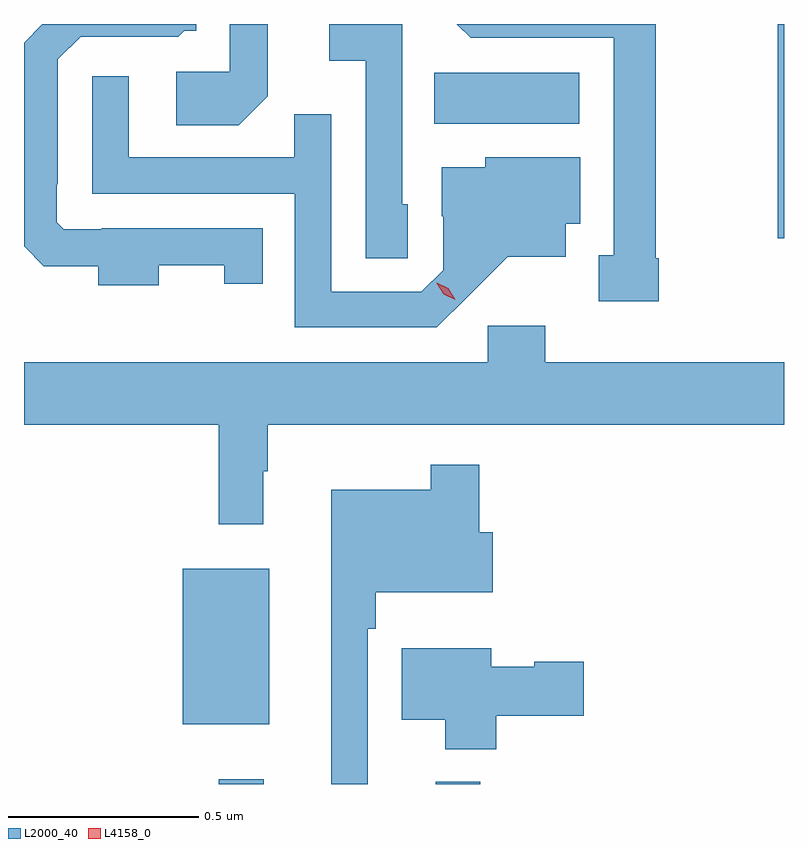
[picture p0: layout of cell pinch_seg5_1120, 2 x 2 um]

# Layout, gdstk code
import gdstk
lib = gdstk.Library(unit=1e-6, precision=1e-09)
def R(c, l, rs):  # rectangles x0, y0, x1, y1
    for r in rs: c.add(gdstk.rectangle(r[:2], r[2:], *l))
def P(c, l, *ps):  # polygons
    for p in ps: c.add(gdstk.Polygon(p, *l))
L2000_40 = (2000, 40)
L4158_0 = (4158, 0)

pinch_seg5_1120 = lib.new_cell('pinch_seg5_1120')
R(pinch_seg5_1120, L2000_40, [(803.911,870.466,804.029,870.478), (804.482,870.466,804.599,870.472), (803.816,870.623,804.043,871.033), (805.381,871.902,805.398,872.466), (804.478,872.204,804.859,872.338)])
P(pinch_seg5_1120, L2000_40, [(804.408,871.992),(804.393,871.992),(804.393,872.466),(804.201,872.466),(804.201,872.369),(804.297,872.369),(804.297,871.849),(804.408,871.849)],
  [(803.752,871.831),(803.925,871.831),(803.925,871.782),(804.026,871.782),(804.026,871.929),(803.602,871.929),(803.602,871.926),(803.502,871.926),(803.484,871.944),(803.484,872.044),(803.487,872.044),(803.487,872.373),(803.547,872.433),(803.67,872.433),(803.67,872.432),(803.804,872.432),(803.82,872.448),(803.851,872.448),(803.851,872.466),(803.446,872.466),(803.398,872.417),(803.398,871.881),(803.45,871.829),(803.594,871.829),(803.594,871.778),(803.752,871.778)],
  [(804.039,872.276),(804.039,872.466),(803.94,872.466),(803.94,872.34),(803.799,872.34),(803.799,872.2),(803.963,872.2)],
  [(805.069,871.849),(805.061,871.849),(805.061,872.466),(804.537,872.466),(804.573,872.43),(804.95,872.43),(804.95,871.857),(804.911,871.857),(804.911,871.737),(805.069,871.737)],
  [(804.568,871.751),(804.671,871.853),(804.823,871.853),(804.823,871.94),(804.862,871.94),(804.862,872.116),(804.612,872.116),(804.612,872.089),(804.497,872.089),(804.497,871.96),(804.501,871.96),(804.501,871.818),(804.444,871.761),(804.207,871.761),(804.207,872.228),(804.109,872.228),(804.109,872.115),(803.673,872.115),(803.673,872.329),(803.577,872.329),(803.577,872.019),(804.111,872.019),(804.111,871.668),(804.484,871.668)],
  [(804.028,871.289),(804.04,871.289),(804.04,871.412),(805.398,871.412),(805.398,871.576),(804.77,871.576),(804.77,871.672),(804.618,871.672),(804.618,871.576),(803.398,871.576),(803.398,871.412),(803.911,871.412),(803.911,871.149),(804.028,871.149)],
  [(804.303,870.875),(804.323,870.875),(804.323,870.971),(804.631,870.971),(804.631,871.129),(804.596,871.129),(804.596,871.306),(804.468,871.306),(804.468,871.24),(804.206,871.24),(804.206,870.466),(804.303,870.466)],
  [(804.641,870.646),(804.871,870.646),(804.871,870.788),(804.741,870.788),(804.741,870.775),(804.628,870.775),(804.628,870.823),(804.392,870.823),(804.392,870.635),(804.506,870.635),(804.506,870.557),(804.641,870.557)])
P(pinch_seg5_1120, L4158_0, [(804.533,871.74),(804.502,871.755),(804.484,871.784),(804.484,871.785),(804.484,871.785),(804.515,871.77),(804.533,871.74),(804.533,871.74)])

lib.write_gds('pinch_seg5_1120.gds')
